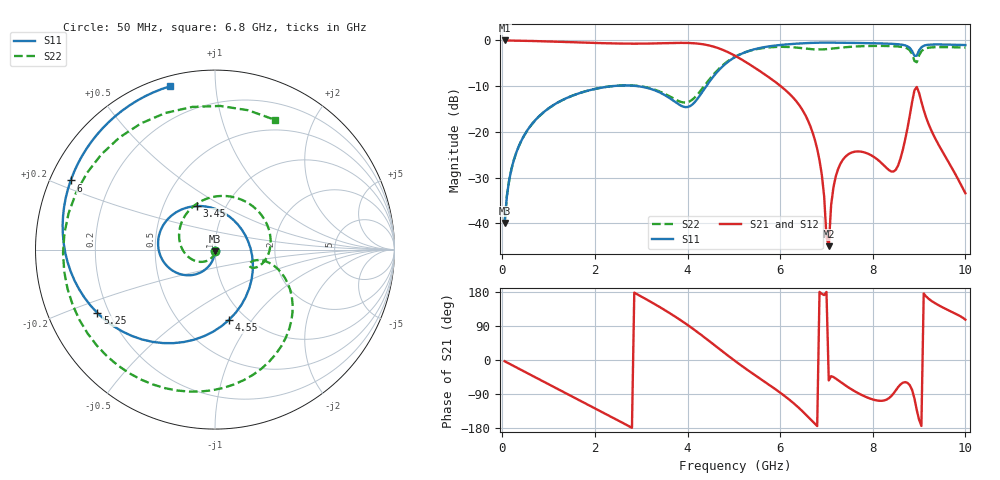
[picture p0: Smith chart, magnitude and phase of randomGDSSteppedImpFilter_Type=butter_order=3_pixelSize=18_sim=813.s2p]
! freq	dB(S11)	phase(S11)	dB(S12)	phase(S12)
!  dB(S21)	phase(S21)	dB(S22)	phase(S22)
!S-par simulation data
#  GHz  S  DB  R 50
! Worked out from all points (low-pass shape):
!   200 points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, 50 MHz to 10 GHz, reference 50 ohm
!   highest |S21| = 0.00 dB at 50 MHz (marker M1); lowest = -45.0 dB at 7.05 GHz (marker M2)
!   |S21| within 3 dB of the highest: start of sweep to 4.96 GHz
!   lowest |S11| = -39.9 dB at 50 MHz (marker M3), VSWR 1.02, Z = 50 - j1.01 ohm
!   |S11| at or under -10 dB: start of sweep to 2.382 GHz; 2.918 GHz to 4.404 GHz (1.487 GHz wide, 40.6 % of centre)
!   |S22| runs from -40.0 to -1.2 dB; largest |S21 - S12| = 0
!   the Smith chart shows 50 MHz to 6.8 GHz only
!   S11 on the Smith chart (normalised r, x): 50 MHz: 1.00, -0.02; 3.45 GHz: 0.74, +0.38; 4.55 GHz: 0.84, -0.78; 5.25 GHz: 0.16, -0.25; 6 GHz: 0.06, +0.23; 6.8 GHz: 0.05, +0.76
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0.05  -39.94 -91.3  -0.00 -3.3  -0.00 -3.3  -39.98 -93.8
0.5  -20.31 -110.1  -0.08 -32.1  -0.08 -32.1  -20.35 -134.9
1.75  -11.27 -157.2  -0.47 -111.3  -0.47 -111.3  -11.27 113.3
2.6  -9.86 167.6  -0.69 -165.8  -0.69 -165.8  -9.84 40.2
3.4  -11.38 116.8  -0.63 139.7  -0.63 139.7  -11.18 -15.9
3.45  -11.63 112.1  -0.62 136.0  -0.62 136.0  -11.40 -18.4
4.05  -14.40 13.7  -0.57 88.3  -0.57 88.3  -13.31 -18.0
4.55  -7.99 -78.6  -1.32 42.2  -1.32 42.2  -7.58 -21.8
5.05  -3.51 -133.9  -3.49 -4.7  -3.49 -4.7  -3.43 -59.9
5.25  -2.57 -151.6  -4.68 -22.4  -4.68 -22.4  -2.56 -77.5
6  -1.00 154.4  -9.90 -86.1  -9.90 -86.1  -1.40 -152.5
6.35  -0.71 132.8  -13.33 -120.4  -13.33 -120.4  -1.55 157.8
6.7  -0.53 111.5  -20.12 -162.0  -20.12 -162.0  -1.93 88.0
6.8  -0.50 105.4  -23.76 -174.4  -23.76 -174.4  -1.98 65.2
7.05  -0.48 90.0  -45.03 -54.1  -45.03 -54.1  -1.86 10.4
7.15  -0.49 83.8  -32.18 -45.0  -32.18 -45.0  -1.75 -8.8
7.35  -0.51 71.4  -26.16 -62.1  -26.16 -62.1  -1.54 -41.6
7.8  -0.58 42.6  -24.45 -94.6  -24.45 -94.6  -1.25 -95.1
8.35  -0.71 5.2  -28.37 -100.7  -28.37 -100.7  -1.22 -144.1
8.95  -3.35 -26.1  -10.17 -132.0  -10.17 -132.0  -4.77 176.3
9.3  -0.89 -52.1  -20.47 153.3  -20.47 153.3  -1.50 143.2
10  -1.01 -99.2  -33.45 106.5  -33.45 106.5  -1.57 63.6
